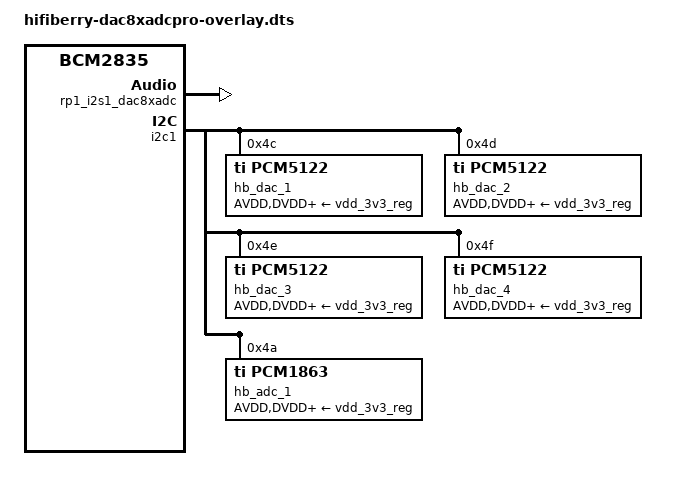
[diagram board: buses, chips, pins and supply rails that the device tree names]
// SPDX-License-Identifier: GPL-2.0-only
// Definitions for HiFiBerry DAC 8x ADC Pro
/dts-v1/;
/plugin/;

/ {
	compatible = "brcm,bcm2835";

	fragment@0 {
		target = <&gpio>;
		__overlay__ {
			rp1_i2s1_dac8xadc: rp1_i2s1_dac8xadc {
				function = "i2s1";
				pins = "gpio18", "gpio19", "gpio20", "gpio21",
				       "gpio22", "gpio23", "gpio24", "gpio25",
				       "gpio26", "gpio27";
				bias-disable;
				status = "okay";
			};
		};
	};

	frag1: fragment@1 {
		target = <&i2s_clk_consumer>;
		__overlay__ {
			pinctrl-names="default";
			pinctrl-0=<&rp1_i2s1_dac8xadc>;
			status = "okay";
		};
	};

	fragment@2 {
		target-path = "/";
		__overlay__ {
			dacpro_osc: dacpro_osc {
				compatible = "hifiberry,dacpro-clk";
				#clock-cells = <0>;
				clock-output-names = "dacpro_clk";
			};
		};
	};

	fragment@3 {
		target = <&i2c1>;
		__overlay__ {
			#address-cells = <1>;
			#size-cells = <0>;
			status = "okay";

			hb_dac_1: pcm5122@4c {
				#sound-dai-cells = <0>;
				compatible = "ti,pcm5122";
				reg = <0x4c>;
				clocks = <&dacpro_osc>;
				sound-name-prefix = "DAC1";
				status = "okay";
				AVDD-supply = <&vdd_3v3_reg>;
				DVDD-supply = <&vdd_3v3_reg>;
				CPVDD-supply = <&vdd_3v3_reg>;
			};
			hb_dac_2: pcm5122@4d {
				#sound-dai-cells = <0>;
				compatible = "ti,pcm5122";
				reg = <0x4d>;
				clocks = <&dacpro_osc>;
				sound-name-prefix = "DAC2";
				status = "okay";
				AVDD-supply = <&vdd_3v3_reg>;
				DVDD-supply = <&vdd_3v3_reg>;
				CPVDD-supply = <&vdd_3v3_reg>;
			};
			hb_dac_3: pcm5122@4e {
				#sound-dai-cells = <0>;
				compatible = "ti,pcm5122";
				reg = <0x4e>;
				clocks = <&dacpro_osc>;
				sound-name-prefix = "DAC3";
				status = "okay";
				AVDD-supply = <&vdd_3v3_reg>;
				DVDD-supply = <&vdd_3v3_reg>;
				CPVDD-supply = <&vdd_3v3_reg>;
			};
			hb_dac_4: pcm5122@4f {
				#sound-dai-cells = <0>;
				compatible = "ti,pcm5122";
				reg = <0x4f>;
				clocks = <&dacpro_osc>;
				sound-name-prefix = "DAC4";
				status = "okay";
				AVDD-supply = <&vdd_3v3_reg>;
				DVDD-supply = <&vdd_3v3_reg>;
				CPVDD-supply = <&vdd_3v3_reg>;
			};
			hb_adc_1: pcm186x@4a {
				#sound-dai-cells = <0>;
				compatible = "ti,pcm1863";
				reg = <0x4a>;
				clocks = <&dacpro_osc>;
				sound-name-prefix = "ADC";
				status = "okay";
				AVDD-supply = <&vdd_3v3_reg>;
				DVDD-supply = <&vdd_3v3_reg>;
				CPVDD-supply = <&vdd_3v3_reg>;
			};
		};
	};

	fragment@4 {
		target = <&sound>;
		hifiberry_dac8xadcpro: __overlay__ {
			compatible = "hifiberry,hifiberry-dac8xadcpro";
			audio-codec = <&hb_dac_1 &hb_dac_2 &hb_dac_3 &hb_dac_4 &hb_adc_1>;
			i2s-controller = <&i2s_clk_consumer>;
			status = "okay";
		};
	};

	fragment@5 {
		target = <&i2s_clk_consumer>;
		__overlay__ {
		compatible = "snps,designware-i2s";
				clocks = <&dacpro_osc>;
				clock-names = "dacpro_clk";
				status = "okay";
		};
	};

	__overrides__ {
		24db_digital_gain =
			<&hifiberry_dac8xadcpro>,"hifiberry-dac8xadcpro,24db_digital_gain?";
		leds_off = <&hifiberry_dac8xadcpro>,"hifiberry-dac8xadcpro,leds_off?";
	};
};
